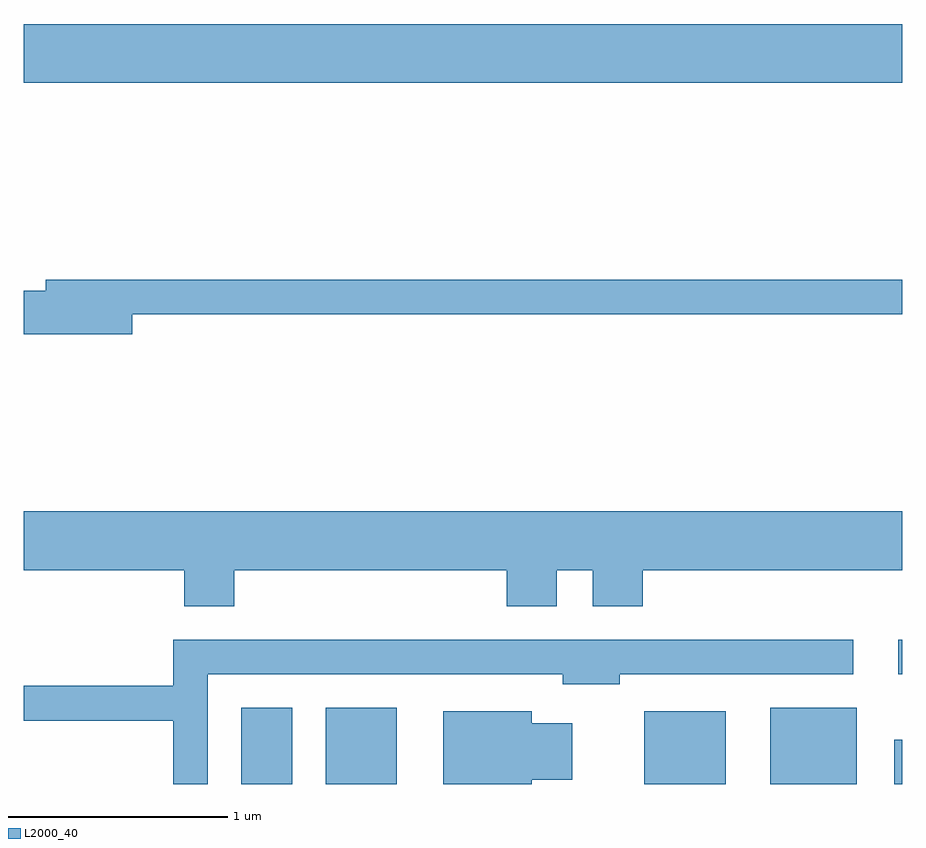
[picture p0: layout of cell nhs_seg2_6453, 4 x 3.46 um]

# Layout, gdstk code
import gdstk
lib = gdstk.Library(unit=1e-6, precision=1e-09)
def R(c, l, rs):  # rectangles x0, y0, x1, y1
    for r in rs: c.add(gdstk.rectangle(r[:2], r[2:], *l))
def P(c, l, *ps):  # polygons
    for p in ps: c.add(gdstk.Polygon(p, *l))
L2000_40 = (2000, 40)

nhs_seg2_6453 = lib.new_cell('nhs_seg2_6453')
R(nhs_seg2_6453, L2000_40, [(376.601,1031.802,376.834,1032.149), (376.986,1031.802,377.309,1032.149), (378.436,1031.802,378.809,1032.134), (379.011,1031.802,379.404,1032.149), (379.576,1031.802,379.611,1032.004), (379.593,1032.301,379.611,1032.459), (375.611,1034.996,379.611,1035.264)])
P(nhs_seg2_6453, L2000_40, [(376.104,1033.941),(379.611,1033.941),(379.611,1034.099),(375.711,1034.099),(375.711,1034.049),(375.611,1034.049),(375.611,1033.851),(376.104,1033.851)],
  [(376.569,1032.776),(377.811,1032.776),(377.811,1032.611),(378.039,1032.611),(378.039,1032.776),(378.201,1032.776),(378.201,1032.611),(378.429,1032.611),(378.429,1032.776),(379.611,1032.776),(379.611,1033.044),(375.611,1033.044),(375.611,1032.776),(376.341,1032.776),(376.341,1032.611),(376.569,1032.611)],
  [(376.449,1032.301),(378.066,1032.301),(378.066,1032.256),(378.324,1032.256),(378.324,1032.301),(379.388,1032.301),(379.388,1032.459),(376.291,1032.459),(376.291,1032.249),(375.611,1032.249),(375.611,1032.091),(376.291,1032.091),(376.291,1031.802),(376.449,1031.802)],
  [(377.924,1031.821),(378.109,1031.821),(378.109,1032.079),(377.924,1032.079),(377.924,1032.134),(377.521,1032.134),(377.521,1031.802),(377.924,1031.802)])

lib.write_gds('nhs_seg2_6453.gds')
